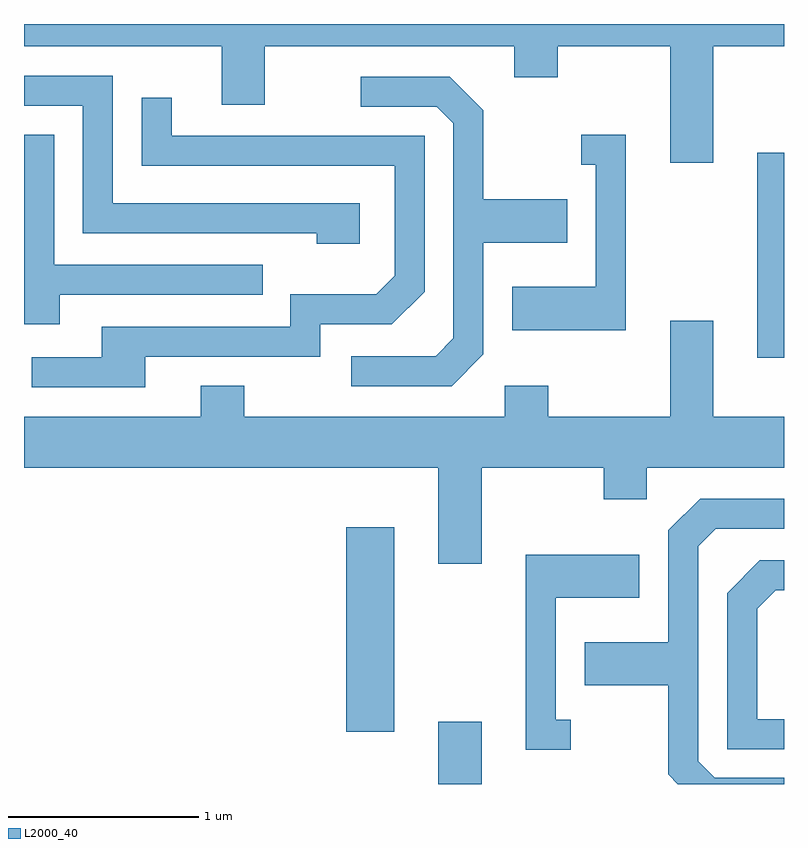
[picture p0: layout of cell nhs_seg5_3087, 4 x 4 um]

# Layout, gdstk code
import gdstk
lib = gdstk.Library(unit=1e-6, precision=1e-09)
def R(c, l, rs):  # rectangles x0, y0, x1, y1
    for r in rs: c.add(gdstk.rectangle(r[:2], r[2:], *l))
def P(c, l, *ps):  # polygons
    for p in ps: c.add(gdstk.Polygon(p, *l))
L2000_40 = (2000, 40)

nhs_seg5_3087 = lib.new_cell('nhs_seg5_3087')
R(nhs_seg5_3087, L2000_40, [(279.791,1404.072,280.019,1404.399), (279.306,1404.346,279.559,1405.424), (281.471,1406.316,281.611,1407.394)])
P(nhs_seg5_3087, L2000_40, [(277.611,1407.956),(278.651,1407.956),(278.651,1407.646),(278.879,1407.646),(278.879,1407.956),(280.191,1407.956),(280.191,1407.791),(280.419,1407.791),(280.419,1407.956),(281.011,1407.956),(281.011,1407.341),(281.239,1407.341),(281.239,1407.956),(281.611,1407.956),(281.611,1408.072),(277.611,1408.072)],
  [(279.379,1407.129),(278.079,1407.129),(278.079,1407.799),(277.611,1407.799),(277.611,1407.641),(277.921,1407.641),(277.921,1406.971),(279.151,1406.971),(279.151,1406.916),(279.379,1406.916)],
  [(280.029,1406.334),(280.029,1406.921),(280.469,1406.921),(280.469,1407.149),(280.029,1407.149),(280.029,1407.617),(279.852,1407.794),(279.383,1407.794),(279.383,1407.636),(279.784,1407.636),(279.871,1407.549),(279.871,1406.417),(279.779,1406.324),(279.333,1406.324),(279.333,1406.166),(279.862,1406.166)],
  [(278.249,1406.321),(279.169,1406.321),(279.169,1406.491),(279.547,1406.491),(279.719,1406.664),(279.719,1407.484),(278.389,1407.484),(278.389,1407.683),(278.231,1407.683),(278.231,1407.326),(279.561,1407.326),(279.561,1406.747),(279.464,1406.649),(279.011,1406.649),(279.011,1406.479),(278.021,1406.479),(278.021,1406.319),(277.653,1406.319),(277.653,1406.161),(278.249,1406.161)],
  [(280.779,1407.489),(280.543,1407.489),(280.543,1407.331),(280.621,1407.331),(280.621,1406.689),(280.181,1406.689),(280.181,1406.461),(280.779,1406.461)],
  [(277.799,1406.646),(278.868,1406.646),(278.868,1406.804),(277.769,1406.804),(277.769,1407.489),(277.611,1407.489),(277.611,1406.491),(277.799,1406.491)],
  [(280.019,1405.736),(280.661,1405.736),(280.661,1405.571),(280.889,1405.571),(280.889,1405.736),(281.611,1405.736),(281.611,1406.004),(281.239,1406.004),(281.239,1406.509),(281.011,1406.509),(281.011,1406.004),(280.369,1406.004),(280.369,1406.169),(280.141,1406.169),(280.141,1406.004),(278.769,1406.004),(278.769,1406.169),(278.541,1406.169),(278.541,1406.004),(277.611,1406.004),(277.611,1405.736),(279.791,1405.736),(279.791,1405.231),(280.019,1405.231)],
  [(281.611,1404.104),(281.247,1404.104),(281.159,1404.192),(281.159,1405.324),(281.252,1405.416),(281.611,1405.416),(281.611,1405.574),(281.169,1405.574),(281.001,1405.407),(281.001,1404.819),(280.561,1404.819),(280.561,1404.591),(281.001,1404.591),(281.001,1404.124),(281.053,1404.072),(281.611,1404.072)],
  [(280.488,1404.409),(280.409,1404.409),(280.409,1405.051),(280.849,1405.051),(280.849,1405.279),(280.251,1405.279),(280.251,1404.251),(280.488,1404.251)],
  [(281.611,1404.414),(281.469,1404.414),(281.469,1404.994),(281.567,1405.091),(281.611,1405.091),(281.611,1405.249),(281.484,1405.249),(281.311,1405.077),(281.311,1404.256),(281.611,1404.256)])

lib.write_gds('nhs_seg5_3087.gds')
